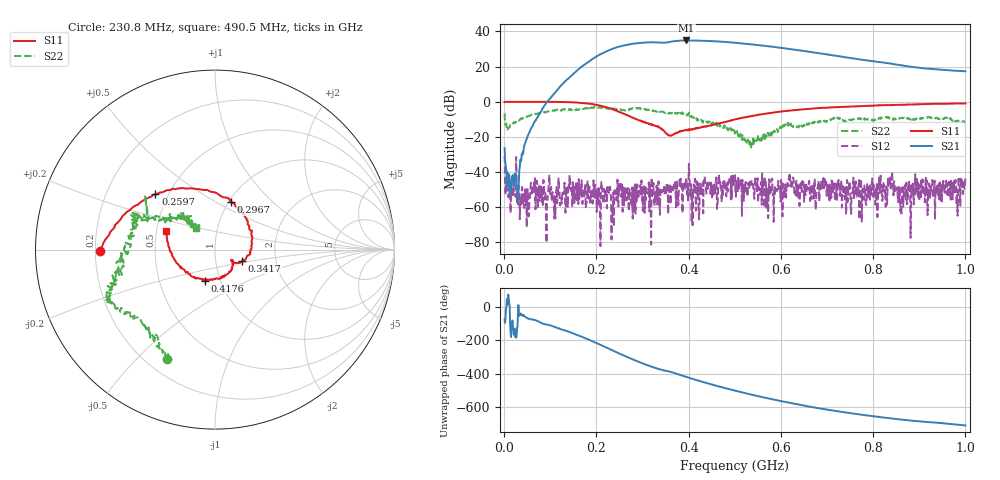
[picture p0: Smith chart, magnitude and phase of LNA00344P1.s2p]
! Created with skrf 1.9.0 (http://scikit-rf.org).
# Hz S RI R 50.0
!freq ReS11 ImS11 ReS21 ImS21 ReS12 ImS12 ReS22 ImS22
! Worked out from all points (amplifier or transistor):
!   1001 points, 1 MHz to 1 GHz, reference 50 ohm
!   highest |S21| = 34.9 dB at 394.6 MHz (marker M1)
!   |S21| within 3 dB of that: 257.1 MHz to 562.9 MHz (305.9 MHz wide, 74.6 % of centre)
!   unconditionally stable (mu >= 1): start of sweep to 71.59 MHz; 211.5 MHz to 400.1 MHz; 401.2 MHz to end of sweep (the widest 3 of 30)
!   at 166.8 MHz: K = 1.35, MAG = 33.0 dB, |S12| = -53.3 dB
!   at 500.5 MHz: K = 1.20, MAG = 34.4 dB, |S12| = -40.6 dB
!   at 1 GHz: K = 1.78, MAG = 25.1 dB, |S12| = -43.1 dB
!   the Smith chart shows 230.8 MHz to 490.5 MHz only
!   S11 on the Smith chart (normalised r, x): 230.8 MHz: 0.22, -0.01; 259.7 MHz: 0.43, +0.33; 296.7 MHz: 1.02, +0.59; 341.7 MHz: 1.34, -0.17; 417.6 MHz: 0.85, -0.30; 490.5 MHz: 0.56, +0.13
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1000000  0.9854 0.0171  0.0129 -0.0465  -0.0215 0.0187  0.2895 0.3673
1.08892e8  0.5118 -0.851  -0.817 -1.521  0.000261 -0.000404  0.4232 -0.3666
1.67833e8  -0.2559 -0.892  -9.889 -0.4626  0.00474 -0.00339  0.0405 -0.6343
2.04796e8  -0.6534 -0.4468  -15.76 14.04  0.00174 -0.00141  -0.1732 -0.6749
2.3077e8  -0.6403 -0.00957  -7.533 29.5  -0.00142 -0.00217  -0.2688 -0.611
2.59741e8  -0.3317 0.3086  14.97 36.84  0.000126 0.00112  -0.3988 -0.4219
2.96704e8  0.0885 0.2663  42.41 20.3  0.00223 -0.000471  -0.5803 -0.2389
3.16684e8  0.1906 0.1314  48.61 3.959  -0.0041 0.000952  -0.5717 -0.1429
3.34666e8  0.197 -0.0253  47.16 -10.39  -0.00302 0.00456  -0.5095 -0.0585
3.41659e8  0.1507 -0.0618  45.52 -14.31  0.0018 -0.00193  -0.5208 -0.0377
3.68632e8  0.0998 -0.0702  42.99 -30.87  -0.000368 0.0036  -0.4527 0.1341
3.94606e8  0.0498 -0.1533  27.78 -47.88  0.00311 0.0062  -0.3957 0.194
4.17583e8  -0.0553 -0.173  9.879 -53.85  0.000868 0.00541  -0.2454 0.1713
4.5055e8  -0.1956 -0.0917  -14.45 -51.33  0.00141 0.0013  -0.1692 0.1834
4.9051e8  -0.2714 0.1062  -34.65 -34.15  0.00517 -0.00161  -0.1075 0.1197
5.005e8  -0.2712 0.1645  -38.01 -28.94  0.00906 0.00221  -0.0958 0.0793
5.4046e8  -0.184 0.3561  -41.38 -7.979  -0.000902 -0.00302  -0.0543 -0.0038
5.88412e8  0.0315 0.5043  -33.78 11.54  0.00393 -0.00118  -0.122 -0.0768
6.67333e8  0.4095 0.4899  -12.26 22.43  -0.000341 -0.00228  -0.2444 -0.0251
7.37263e8  0.6383 0.329  0.8548 18.59  -0.0027 -0.000933  -0.2848 0.0185
8.34166e8  0.8023 0.018  7.655 9.692  -0.00113 0.0043  -0.3256 0.1293
1e9  0.7283 -0.5244  7.309 1.015  -0.00629 0.00297  -0.0808 0.2591
